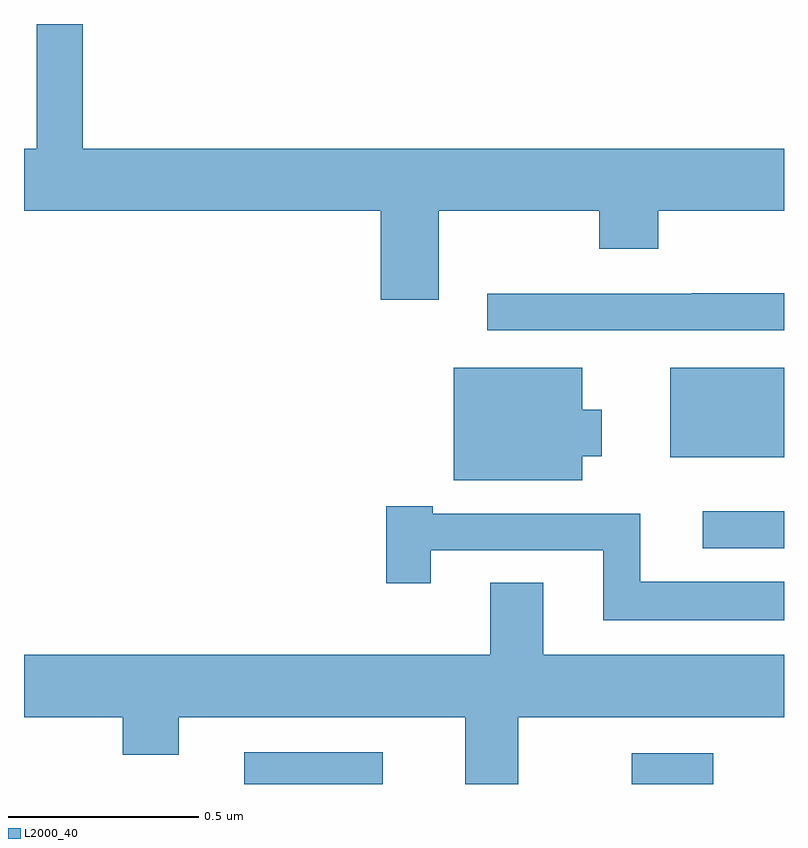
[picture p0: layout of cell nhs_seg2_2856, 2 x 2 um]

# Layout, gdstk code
import gdstk
lib = gdstk.Library(unit=1e-6, precision=1e-09)
def R(c, l, rs):  # rectangles x0, y0, x1, y1
    for r in rs: c.add(gdstk.rectangle(r[:2], r[2:], *l))
def P(c, l, *ps):  # polygons
    for p in ps: c.add(gdstk.Polygon(p, *l))
L2000_40 = (2000, 40)

nhs_seg2_2856 = lib.new_cell('nhs_seg2_2856')
R(nhs_seg2_2856, L2000_40, [(146.579,640.8,146.944,640.884), (147.599,640.8,147.814,640.881), (147.786,641.421,148,641.518), (147.701,641.66,148,641.896)])
P(nhs_seg2_2856, L2000_40, [(147.091,642.308),(147.514,642.308),(147.514,642.209),(147.669,642.209),(147.669,642.308),(148,642.308),(148,642.472),(146.155,642.472),(146.155,642.8),(146.033,642.8),(146.033,642.472),(146,642.472),(146,642.308),(146.939,642.308),(146.939,642.075),(147.091,642.075)],
  [(148,642.092),(147.757,642.092),(147.757,642.09),(147.219,642.09),(147.219,641.994),(148,641.994)],
  [(147.469,641.663),(147.52,641.663),(147.52,641.785),(147.469,641.785),(147.469,641.896),(147.131,641.896),(147.131,641.6),(147.469,641.6)],
  [(148,641.332),(147.622,641.332),(147.622,641.511),(147.076,641.511),(147.076,641.531),(146.953,641.531),(146.953,641.328),(147.07,641.328),(147.07,641.415),(147.524,641.415),(147.524,641.231),(148,641.231)],
  [(146,640.976),(146.26,640.976),(146.26,640.877),(146.407,640.877),(146.407,640.976),(147.161,640.976),(147.161,640.8),(147.301,640.8),(147.301,640.976),(148,640.976),(148,641.14),(147.367,641.14),(147.367,641.33),(147.227,641.33),(147.227,641.14),(146,641.14)])

lib.write_gds('nhs_seg2_2856.gds')
